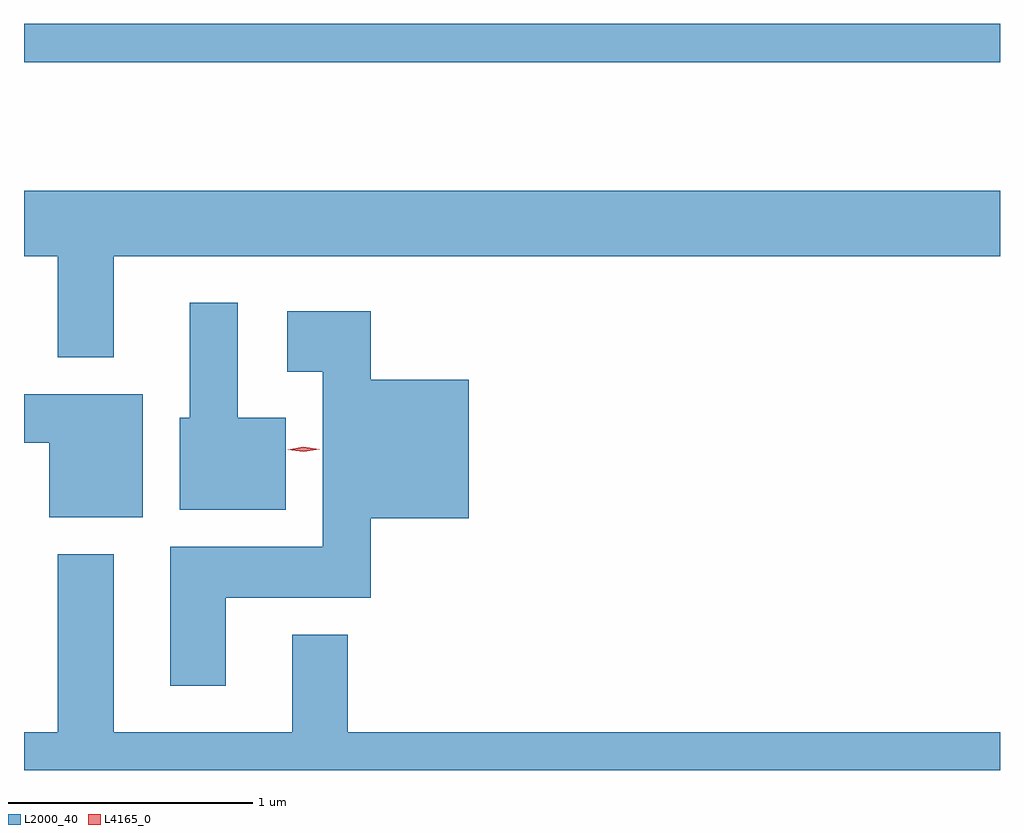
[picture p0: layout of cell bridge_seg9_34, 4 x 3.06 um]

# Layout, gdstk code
import gdstk
lib = gdstk.Library(unit=1e-6, precision=1e-09)
def R(c, l, rs):  # rectangles x0, y0, x1, y1
    for r in rs: c.add(gdstk.rectangle(r[:2], r[2:], *l))
def P(c, l, *ps):  # polygons
    for p in ps: c.add(gdstk.Polygon(p, *l))
L2000_40 = (2000, 40)
L4165_0 = (4165, 0)

bridge_seg9_34 = lib.new_cell('bridge_seg9_34')
R(bridge_seg9_34, L2000_40, [(1674.832,2081.411,1678.832,2081.569)])
P(bridge_seg9_34, L2000_40, [(1675.199,2080.616),(1678.832,2080.616),(1678.832,2080.884),(1674.832,2080.884),(1674.832,2080.616),(1674.971,2080.616),(1674.971,2080.201),(1675.199,2080.201)],
  [(1675.904,2079.954),(1675.709,2079.954),(1675.709,2080.424),(1675.511,2080.424),(1675.511,2079.954),(1675.471,2079.954),(1675.471,2079.576),(1675.904,2079.576)],
  [(1675.659,2079.216),(1676.254,2079.216),(1676.254,2079.541),(1676.654,2079.541),(1676.654,2080.109),(1676.254,2080.109),(1676.254,2080.389),(1675.911,2080.389),(1675.911,2080.141),(1676.056,2080.141),(1676.056,2079.424),(1675.431,2079.424),(1675.431,2078.856),(1675.659,2078.856)],
  [(1675.319,2080.049),(1674.832,2080.049),(1674.832,2079.851),(1674.936,2079.851),(1674.936,2079.546),(1675.319,2079.546)],
  [(1678.832,2078.664),(1676.159,2078.664),(1676.159,2079.064),(1675.931,2079.064),(1675.931,2078.664),(1675.199,2078.664),(1675.199,2079.394),(1674.971,2079.394),(1674.971,2078.664),(1674.832,2078.664),(1674.832,2078.508),(1678.832,2078.508)])
P(bridge_seg9_34, L4165_0, [(1675.978,2079.814),(1675.912,2079.822),(1675.911,2079.823),(1675.912,2079.823),(1675.977,2079.834),(1676.043,2079.825),(1676.044,2079.825),(1676.043,2079.824)])

lib.write_gds('bridge_seg9_34.gds')
